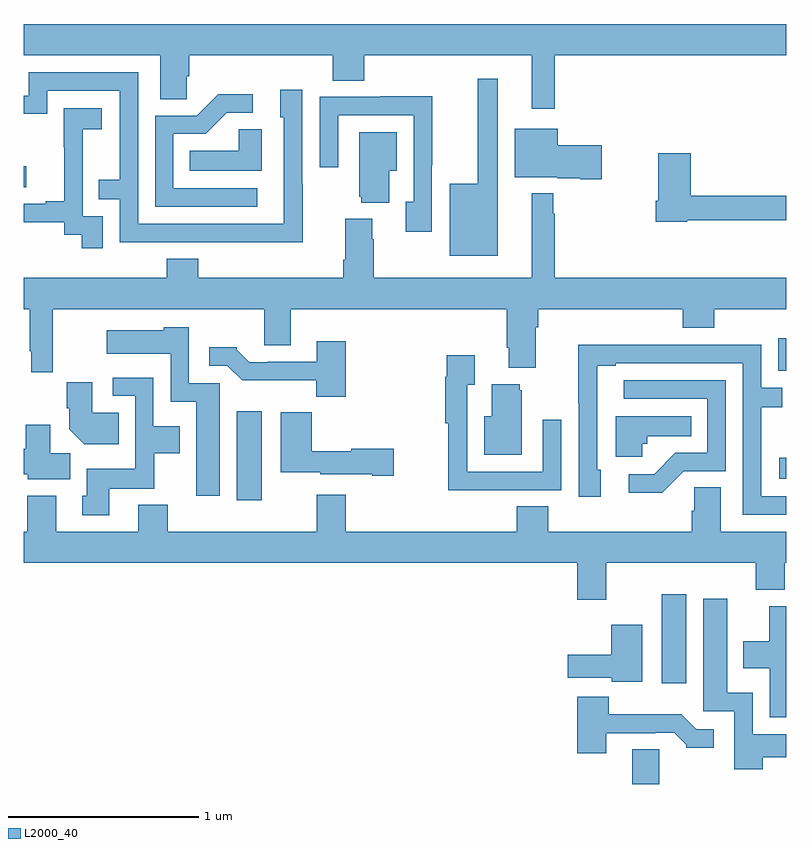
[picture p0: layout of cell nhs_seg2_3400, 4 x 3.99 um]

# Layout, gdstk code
import gdstk
lib = gdstk.Library(unit=1e-6, precision=1e-09)
def R(c, l, rs):  # rectangles x0, y0, x1, y1
    for r in rs: c.add(gdstk.rectangle(r[:2], r[2:], *l))
def P(c, l, *ps):  # polygons
    for p in ps: c.add(gdstk.Polygon(p, *l))
L2000_40 = (2000, 40)

nhs_seg2_3400 = lib.new_cell('nhs_seg2_3400')
R(nhs_seg2_3400, L2000_40, [(292.193,655.8,292.333,655.982), (292.346,656.328,292.477,656.797), (290.117,657.288,290.248,657.757), (292.965,657.401,293,657.511), (292.959,657.969,293,658.138), (289,658.932,289.012,659.041)])
P(nhs_seg2_3400, L2000_40, [(291.787,659.624),(293,659.624),(293,659.788),(289,659.788),(289,659.624),(289.715,659.624),(289.715,659.392),(289.854,659.392),(289.854,659.515),(289.868,659.515),(289.868,659.624),(290.621,659.624),(290.621,659.491),(290.786,659.491),(290.786,659.624),(291.665,659.624),(291.665,659.343),(291.787,659.343)],
  [(290.463,658.949),(290.46,658.949),(290.46,659.443),(290.345,659.443),(290.345,659.298),(290.364,659.298),(290.364,658.74),(289.599,658.74),(289.599,659.535),(289.025,659.535),(289.025,659.412),(289,659.412),(289,659.316),(289.122,659.316),(289.122,659.439),(289.503,659.439),(289.503,658.97),(289.393,658.97),(289.393,658.869),(289.503,658.869),(289.503,658.644),(289.999,658.644),(289.999,658.643),(290.463,658.643)],
  [(291.487,659.5),(291.383,659.5),(291.383,658.951),(291.236,658.951),(291.236,658.571),(291.487,658.571)],
  [(290.224,658.926),(289.785,658.926),(289.785,659.211),(289.954,659.211),(290.065,659.322),(290.2,659.322),(290.2,659.42),(290.021,659.42),(289.908,659.307),(289.689,659.307),(289.689,658.83),(290.224,658.83)],
  [(291.141,659.047),(291.144,659.047),(291.144,659.408),(290.869,659.408),(290.869,659.406),(290.553,659.406),(290.553,659.037),(290.649,659.037),(290.649,659.31),(291.045,659.31),(291.045,658.854),(291.005,658.854),(291.005,658.698),(291.141,658.698)],
  [(289.413,658.779),(289.308,658.779),(289.308,659.009),(289.31,659.009),(289.31,659.237),(289.408,659.237),(289.408,659.347),(289.21,659.347),(289.21,659.141),(289.211,659.141),(289.211,658.858),(289.115,658.858),(289.115,658.845),(289,658.845),(289,658.749),(289.212,658.749),(289.212,658.681),(289.305,658.681),(289.305,658.611),(289.413,658.611)],
  [(292.033,659.151),(291.802,659.151),(291.802,659.239),(291.575,659.239),(291.575,658.985),(291.798,658.985),(291.798,658.979),(291.92,658.979),(291.92,658.973),(292.033,658.973)],
  [(290.248,659.237),(290.127,659.237),(290.127,659.122),(289.87,659.122),(289.87,659.018),(290.248,659.018)],
  [(290.917,659.018),(290.956,659.018),(290.956,659.221),(290.759,659.221),(290.759,658.881),(290.771,658.881),(290.771,658.85),(290.917,658.85)],
  [(292.482,658.758),(293,658.758),(293,658.886),(292.499,658.886),(292.499,659.11),(292.328,659.11),(292.328,658.861),(292.316,658.861),(292.316,658.75),(292.482,658.75)],
  [(290.261,658.102),(290.401,658.102),(290.401,658.292),(291.533,658.292),(291.533,658.09),(291.545,658.09),(291.545,657.983),(291.685,657.983),(291.685,658.196),(291.698,658.196),(291.698,658.292),(292.457,658.292),(292.457,658.193),(292.622,658.193),(292.622,658.292),(293,658.292),(293,658.456),(291.787,658.456),(291.787,658.793),(291.779,658.793),(291.779,658.9),(291.665,658.9),(291.665,658.456),(290.835,658.456),(290.835,658.658),(290.827,658.658),(290.827,658.765),(290.687,658.765),(290.687,658.552),(290.675,658.552),(290.675,658.456),(289.916,658.456),(289.916,658.555),(289.751,658.555),(289.751,658.456),(289,658.456),(289,658.292),(289.03,658.292),(289.03,658.072),(289.038,658.072),(289.038,657.96),(289.151,657.96),(289.151,658.292),(290.261,658.292)],
  [(290.029,657.903),(289.866,657.903),(289.866,658.198),(289.734,658.198),(289.734,658.18),(289.434,658.18),(289.434,658.058),(289.77,658.058),(289.77,657.806),(289.904,657.806),(289.904,657.312),(290.029,657.312)],
  [(290.69,658.123),(290.537,658.123),(290.537,658.017),(290.281,658.017),(290.281,658.014),(290.182,658.014),(290.118,658.078),(290.118,658.093),(289.974,658.093),(289.974,657.996),(290.067,657.996),(290.146,657.918),(290.535,657.918),(290.535,657.833),(290.69,657.833)],
  [(293,657.309),(292.869,657.309),(292.869,657.778),(292.979,657.778),(292.979,657.879),(292.869,657.879),(292.869,658.104),(292.373,658.104),(292.373,658.106),(291.91,658.106),(291.91,657.799),(291.912,657.799),(291.912,657.306),(292.027,657.306),(292.027,657.45),(292.008,657.45),(292.008,657.799),(292.009,657.799),(292.009,657.996),(292.105,657.996),(292.105,658.008),(292.773,658.008),(292.773,657.213),(293,657.213)],
  [(291.503,657.342),(291.819,657.342),(291.819,657.712),(291.723,657.712),(291.723,657.438),(291.327,657.438),(291.327,657.895),(291.367,657.895),(291.367,658.051),(291.219,658.051),(291.219,657.938),(291.211,657.938),(291.211,657.692),(291.226,657.692),(291.226,657.341),(291.503,657.341)],
  [(289.447,657.35),(289.683,657.35),(289.683,657.536),(289.819,657.536),(289.819,657.676),(289.68,657.676),(289.68,657.933),(289.467,657.933),(289.467,657.837),(289.584,657.837),(289.584,657.454),(289.331,657.454),(289.331,657.312),(289.307,657.312),(289.307,657.21),(289.447,657.21)],
  [(292.464,657.441),(292.683,657.441),(292.683,657.918),(292.149,657.918),(292.149,657.822),(292.587,657.822),(292.587,657.537),(292.418,657.537),(292.307,657.426),(292.173,657.426),(292.173,657.329),(292.351,657.329)],
  [(289.499,657.748),(289.36,657.748),(289.36,657.907),(289.226,657.907),(289.226,657.772),(289.238,657.772),(289.238,657.662),(289.316,657.584),(289.499,657.584)],
  [(291.613,657.867),(291.602,657.867),(291.602,657.898),(291.455,657.898),(291.455,657.73),(291.416,657.73),(291.416,657.527),(291.613,657.527)],
  [(290.941,657.56),(290.718,657.56),(290.718,657.547),(290.51,657.547),(290.51,657.751),(290.348,657.751),(290.348,657.437),(290.556,657.437),(290.556,657.425),(290.828,657.425),(290.828,657.418),(290.941,657.418)],
  [(292.245,657.585),(292.272,657.585),(292.272,657.626),(292.502,657.626),(292.502,657.73),(292.106,657.73),(292.106,657.518),(292.245,657.518)],
  [(289.243,657.536),(289.138,657.536),(289.138,657.685),(289.009,657.685),(289.009,657.56),(289,657.56),(289,657.425),(289.02,657.425),(289.02,657.398),(289.243,657.398)],
  [(292.057,656.96),(292.841,656.96),(292.841,656.819),(292.993,656.819),(292.993,656.96),(293,656.96),(293,657.124),(292.657,657.124),(292.657,657.356),(292.518,657.356),(292.518,657.233),(292.505,657.233),(292.505,657.124),(291.752,657.124),(291.752,657.257),(291.587,657.257),(291.587,657.124),(290.69,657.124),(290.69,657.319),(290.537,657.319),(290.537,657.124),(289.754,657.124),(289.754,657.265),(289.601,657.265),(289.601,657.124),(289.171,657.124),(289.171,657.313),(289.019,657.313),(289.019,657.124),(289,657.124),(289,656.96),(291.905,656.96),(291.905,656.766),(292.057,656.766)],
  [(292.877,655.94),(293,655.94),(293,656.062),(292.824,656.062),(292.824,656.278),(292.69,656.278),(292.69,656.773),(292.565,656.773),(292.565,656.181),(292.728,656.181),(292.728,655.878),(292.877,655.878)],
  [(293,656.734),(292.912,656.734),(292.912,656.548),(292.775,656.548),(292.775,656.408),(292.914,656.408),(292.914,656.151),(293,656.151)],
  [(292.246,656.635),(292.082,656.635),(292.082,656.479),(291.855,656.479),(291.855,656.357),(292.086,656.357),(292.086,656.336),(292.246,656.336)],
  [(292.057,656.067),(292.313,656.067),(292.313,656.07),(292.412,656.07),(292.476,656.006),(292.476,655.991),(292.621,655.991),(292.621,656.088),(292.527,656.088),(292.449,656.167),(292.07,656.167),(292.07,656.257),(291.905,656.257),(291.905,655.962),(292.057,655.962)])

lib.write_gds('nhs_seg2_3400.gds')
